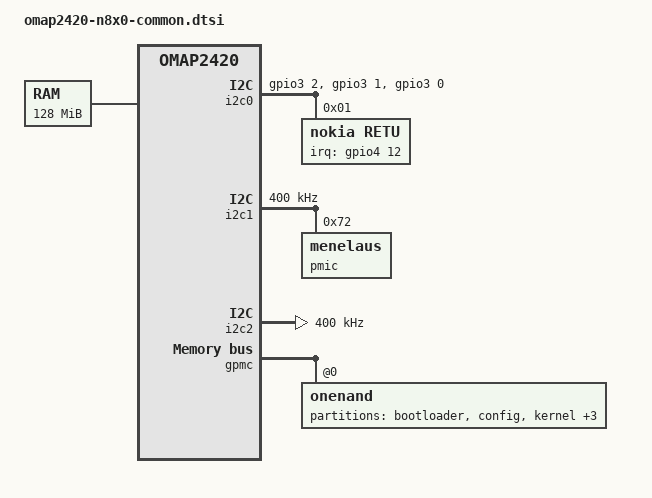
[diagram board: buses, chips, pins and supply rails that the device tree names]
// SPDX-License-Identifier: GPL-2.0
#include "omap2420.dtsi"

/ {
	memory@80000000 {
		device_type = "memory";
		reg = <0x80000000 0x8000000>; /* 128 MB */
	};

	ocp {
		i2c0 {
			compatible = "i2c-cbus-gpio";
			gpios = <&gpio3 2 GPIO_ACTIVE_HIGH /* gpio66 clk */
				 &gpio3 1 GPIO_ACTIVE_HIGH /* gpio65 dat */
				 &gpio3 0 GPIO_ACTIVE_HIGH /* gpio64 sel */
				>;
			#address-cells = <1>;
			#size-cells = <0>;
			retu: retu@1 {
				compatible = "nokia,retu";
				interrupt-parent = <&gpio4>;
				interrupts = <12 IRQ_TYPE_EDGE_RISING>;
				reg = <0x1>;
			};
		};
	};
};

&i2c1 {
	clock-frequency = <400000>;

	pmic@72 {
		compatible = "menelaus";
		reg = <0x72>;
		interrupts = <7 IRQ_TYPE_EDGE_RISING>;
	};
};

&i2c2 {
	clock-frequency = <400000>;
};

&gpmc {
	ranges = <0 0 0x04000000 0x1000000>;	/* CS0: 16MB for OneNAND */

	/* gpio-irq for dma: 26 */

	onenand@0,0 {
		#address-cells = <1>;
		#size-cells = <1>;
		reg = <0 0 0x20000>;	/* CS0, offset 0, IO size 128K */

		gpmc,sync-read;
		gpmc,burst-length = <16>;
		gpmc,burst-read;
		gpmc,burst-wrap;
		gpmc,device-width = <2>;
		gpmc,mux-add-data = <2>;
		gpmc,cs-on-ns = <0>;
		gpmc,cs-rd-off-ns = <127>;
		gpmc,cs-wr-off-ns = <109>;
		gpmc,adv-on-ns = <0>;
		gpmc,adv-rd-off-ns = <18>;
		gpmc,adv-wr-off-ns = <18>;
		gpmc,oe-on-ns = <27>;
		gpmc,oe-off-ns = <127>;
		gpmc,we-on-ns = <27>;
		gpmc,we-off-ns = <72>;
		gpmc,rd-cycle-ns = <145>;
		gpmc,wr-cycle-ns = <136>;
		gpmc,access-ns = <118>;
		gpmc,page-burst-access-ns = <27>;
		gpmc,bus-turnaround-ns = <0>;
		gpmc,cycle2cycle-delay-ns = <0>;
		gpmc,wait-monitoring-ns = <0>;
		gpmc,clk-activation-ns = <9>;
		gpmc,sync-clk-ps = <27000>;

		/* MTD partition table corresponding to old board-n8x0 file. */
		partition@0 {
			label = "bootloader";
			reg = <0x00000000 0x00020000>;
			read-only;
		};
		partition@1 {
			label = "config";
			reg = <0x00020000 0x00060000>;
		};
		partition@2 {
			label = "kernel";
			reg = <0x00080000 0x00200000>;
		};
		partition@3 {
			label = "initfs";
			reg = <0x00280000 0x00400000>;
		};
		partition@4 {
			label = "rootfs";
			reg = <0x00680000 0x0f980000>;
		};
		partition@5 {
			label = "omap2-onenand";
			reg = <0x00000000 0x10000000>;
		};
	};
};
